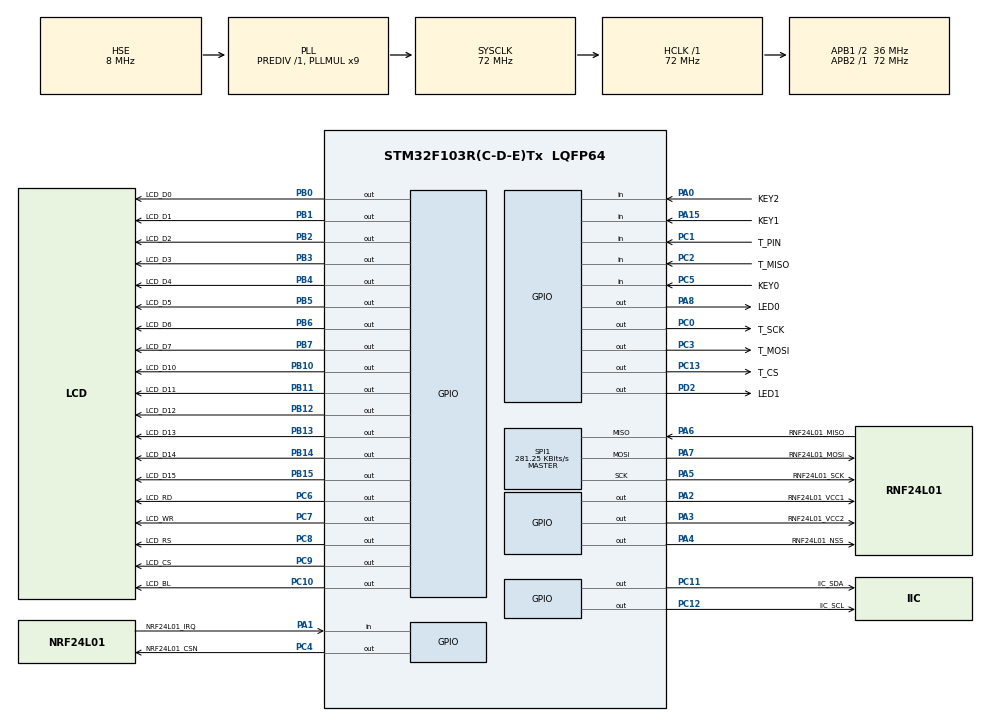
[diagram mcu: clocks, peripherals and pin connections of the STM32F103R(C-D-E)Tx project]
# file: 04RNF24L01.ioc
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PC10.GPIO_PuPd=GPIO_PULLUP
SPI1.VirtualType=VM_MASTER
PB10.GPIO_PuPd=GPIO_PULLUP
PA15.GPIO_Mode=GPIO_MODE_INPUT
PC12.Signal=GPIO_Output
PB14.GPIO_Label=LCD_D14
PC6.GPIO_Label=LCD_RD
PC0.GPIO_ModeDefaultOutputPP=GPIO_MODE_OUTPUT_PP
PA6.GPIO_Label=RNF24L01_MISO
PB6.GPIO_Label=LCD_D6
PB13.Signal=GPIO_Output
PB3.GPIO_Speed=GPIO_SPEED_FREQ_HIGH
RCC.SYSCLKSource=RCC_SYSCLKSOURCE_PLLCLK
PC3.GPIO_Speed=GPIO_SPEED_FREQ_HIGH
PB11.GPIO_Speed=GPIO_SPEED_FREQ_HIGH
SPI1.Direction=SPI_DIRECTION_2LINES
RCC.APB2TimFreq_Value=72000000
PB6.Signal=GPIO_Output
PC7.Signal=GPIO_Output
SPI1.CalculateBaudRate=281.25 KBits/s
PB15.GPIO_ModeDefaultOutputPP=GPIO_MODE_OUTPUT_PP
PC3.Signal=GPIO_Output
PB2.Signal=GPIO_Output
PB12.GPIO_ModeDefaultOutputPP=GPIO_MODE_OUTPUT_PP
PC1.GPIO_PuPd=GPIO_PULLUP
PB12.GPIO_Label=LCD_D12
PC4.GPIO_Label=NRF24L01_CSN
PB1.GPIO_Speed=GPIO_SPEED_FREQ_HIGH
PB1.GPIO_Label=LCD_D1
PC11.GPIO_Speed=GPIO_SPEED_FREQ_HIGH
PA8.Signal=GPIO_Output
PA8.GPIO_ModeDefaultOutputPP=GPIO_MODE_OUTPUT_PP
PC13-TAMPER-RTC.GPIO_Speed=GPIO_SPEED_FREQ_HIGH
PB2.GPIO_PuPd=GPIO_PULLUP
PC10.GPIO_ModeDefaultOutputPP=GPIO_MODE_OUTPUT_PP
Mcu.Package=LQFP64
PB1.Signal=GPIO_Output
PB14.GPIO_PuPd=GPIO_PULLUP
PC13-TAMPER-RTC.GPIO_PuPd=GPIO_PULLUP
PB6.GPIO_ModeDefaultOutputPP=GPIO_MODE_OUTPUT_PP
PC6.GPIO_PuPd=GPIO_PULLUP
PC8.GPIO_Speed=GPIO_SPEED_FREQ_HIGH
PB5.GPIO_Speed=GPIO_SPEED_FREQ_HIGH
RCC.APB1TimFreq_Value=72000000
PB0.GPIO_ModeDefaultOutputPP=GPIO_MODE_OUTPUT_PP
PC12.GPIO_PuPd=GPIO_PULLUP
PB2.GPIO_ModeDefaultOutputPP=GPIO_MODE_OUTPUT_PP
PA4.GPIO_Label=RNF24L01_NSS
PC6.GPIO_Speed=GPIO_SPEED_FREQ_HIGH
PA8.GPIO_Speed=GPIO_SPEED_FREQ_HIGH
PC6.GPIO_ModeDefaultOutputPP=GPIO_MODE_OUTPUT_PP
PA5.Mode=Full_Duplex_Master
PB7.GPIO_PuPd=GPIO_PULLUP
PB5.GPIO_ModeDefaultOutputPP=GPIO_MODE_OUTPUT_PP
PC7.GPIO_ModeDefaultOutputPP=GPIO_MODE_OUTPUT_PP
PD2.GPIO_PuPd=GPIO_PULLUP
PB6.GPIO_PuPd=GPIO_PULLUP
PC2.Signal=GPIO_Input
PC6.Signal=GPIO_Output
PB11.GPIO_Label=LCD_D11
PC12.GPIO_ModeDefaultOutputPP=GPIO_MODE_OUTPUT_PP
SPI1.CLKPhase=SPI_PHASE_2EDGE
PC0.Signal=GPIO_Output
RCC.APB1CLKDivider=RCC_HCLK_DIV2
PA0-WKUP.GPIO_Label=KEY2
PA0-WKUP.Signal=GPIO_Input
PA8.GPIO_Label=LED0
PB14.GPIO_Speed=GPIO_SPEED_FREQ_HIGH
PB13.GPIO_Speed=GPIO_SPEED_FREQ_HIGH
PB4.GPIO_PuPd=GPIO_PULLUP
PC7.GPIO_PuPd=GPIO_PULLUP
PB11.GPIO_ModeDefaultOutputPP=GPIO_MODE_OUTPUT_PP
PB10.Signal=GPIO_Output
PB14.Signal=GPIO_Output
PA5.Signal=SPI1_SCK
PC13-TAMPER-RTC.GPIO_Label=T_CS
PB13.GPIO_PuPd=GPIO_PULLUP
PB4.GPIO_Label=LCD_D4
PB15.GPIO_Label=LCD_D15
SPI1.Mode=SPI_MODE_MASTER
PA1.GPIO_Label=NRF24L01_IRQ
PC9.GPIO_PuPd=GPIO_PULLUP
PC11.GPIO_ModeDefaultOutputPP=GPIO_MODE_OUTPUT_PP
PA13.Mode=Serial_Wire
PC7.GPIO_Label=LCD_WR
PC8.GPIO_PuPd=GPIO_PULLUP
PA4.Signal=GPIO_Output
PC13-TAMPER-RTC.GPIO_ModeDefaultOutputPP=GPIO_MODE_OUTPUT_PP
PB5.Signal=GPIO_Output
PA5.GPIO_Label=RNF24L01_SCK
PB5.GPIO_PuPd=GPIO_PULLUP
PC12.GPIO_Label=IIC_SCL
PC5.GPIO_Mode=GPIO_MODE_INPUT
ProjectManager.HeapSize=0x200
PC9.GPIO_Speed=GPIO_SPEED_FREQ_HIGH
NVIC.PriorityGroup=NVIC_PRIORITYGROUP_4
PC3.GPIO_Label=T_MOSI
PA0-WKUP.GPIO_PuPd=GPIO_PULLDOWN
PC3.GPIO_ModeDefaultOutputPP=GPIO_MODE_OUTPUT_PP
PB1.GPIO_ModeDefaultOutputPP=GPIO_MODE_OUTPUT_PP
PD2.Signal=GPIO_Output
PB6.GPIO_Speed=GPIO_SPEED_FREQ_HIGH
PB12.GPIO_PuPd=GPIO_PULLUP
PB0.Signal=GPIO_Output
PC1.Signal=GPIO_Input
PD2.GPIO_Label=LED1
Mcu.Family=STM32F1
PA6.Mode=Full_Duplex_Master
PD2.GPIO_ModeDefaultOutputPP=GPIO_MODE_OUTPUT_PP
PB10.GPIO_Speed=GPIO_SPEED_FREQ_HIGH
PC10.Signal=GPIO_Output
PB2.GPIO_Speed=GPIO_SPEED_FREQ_HIGH
PC0.GPIO_Label=T_SCK
PD2.GPIO_Speed=GPIO_SPEED_FREQ_HIGH
PB0.GPIO_Label=LCD_D0
PC10.GPIO_Speed=GPIO_SPEED_FREQ_HIGH
PB11.GPIO_PuPd=GPIO_PULLUP
PB13.GPIO_Label=LCD_D13
PB11.Signal=GPIO_Output
PB15.Signal=GPIO_Output
ProjectManager.StackSize=0x400
PD1-OSC_OUT.Signal=RCC_OSC_OUT
PA15.GPIO_Label=KEY1
PC11.GPIO_PuPd=GPIO_PULLUP
PB10.GPIO_ModeDefaultOutputPP=GPIO_MODE_OUTPUT_PP
PB1.GPIO_PuPd=GPIO_PULLUP
RCC.HCLKFreq_Value=72000000
PB13.GPIO_ModeDefaultOutputPP=GPIO_MODE_OUTPUT_PP
RCC.AHBFreq_Value=72000000
RCC.PLLMUL=RCC_PLL_MUL9
PB3.GPIO_PuPd=GPIO_PULLUP
PA14.Mode=Serial_Wire
PC11.GPIO_Label=IIC_SDA
PB7.Signal=GPIO_Output
PB7.GPIO_Label=LCD_D7
PA6.Signal=SPI1_MISO
PB15.GPIO_PuPd=GPIO_PULLUP
PA2.GPIO_Label=RNF24L01_VCC1
PC8.GPIO_ModeDefaultOutputPP=GPIO_MODE_OUTPUT_PP
PA15.Signal=GPIO_Input
PB5.GPIO_Label=LCD_D5
PC5.Signal=GPIO_Input
PC0.GPIO_PuPd=GPIO_PULLUP
SPI1.BaudRatePrescaler=SPI_BAUDRATEPRESCALER_256
PC2.GPIO_Label=T_MISO
PA8.PinState=GPIO_PIN_SET
PB4.Signal=GPIO_Output
PB4.GPIO_ModeDefaultOutputPP=GPIO_MODE_OUTPUT_PP
PA3.Signal=GPIO_Output
PB7.GPIO_Speed=GPIO_SPEED_FREQ_HIGH
PB3.GPIO_Label=LCD_D3
RCC.PLLSourceVirtual=RCC_PLLSOURCE_HSE
PA7.Mode=Full_Duplex_Master
PD1-OSC_OUT.Mode=HSE-External-Oscillator
PC10.GPIO_Label=LCD_BL
PC9.GPIO_Label=LCD_CS
PC11.Signal=GPIO_Output
PC8.Signal=GPIO_Output
PC4.Signal=GPIO_Output
PC13-TAMPER-RTC.Signal=GPIO_Output
PD0-OSC_IN.Signal=RCC_OSC_IN
PC5.GPIO_PuPd=GPIO_PULLUP
PB0.GPIO_Speed=GPIO_SPEED_FREQ_HIGH
PC8.GPIO_Label=LCD_RS
PA13.Signal=SYS_JTMS-SWDIO
PC0.GPIO_Speed=GPIO_SPEED_FREQ_HIGH
ProjectManager.TargetToolchain=STM32CubeIDE
PB10.GPIO_Label=LCD_D10
RCC.USBFreq_Value=72000000
PB14.GPIO_ModeDefaultOutputPP=GPIO_MODE_OUTPUT_PP
PA1.Signal=GPIO_Input
PB12.GPIO_Speed=GPIO_SPEED_FREQ_HIGH
PD0-OSC_IN.Mode=HSE-External-Oscillator
PD2.PinState=GPIO_PIN_SET
board=custom
PC7.GPIO_Speed=GPIO_SPEED_FREQ_HIGH
PB4.GPIO_Speed=GPIO_SPEED_FREQ_HIGH
RCC.APB2Freq_Value=72000000
PB7.GPIO_ModeDefaultOutputPP=GPIO_MODE_OUTPUT_PP
PB15.GPIO_Speed=GPIO_SPEED_FREQ_HIGH
PC9.GPIO_ModeDefaultOutputPP=GPIO_MODE_OUTPUT_PP
PC1.GPIO_Label=T_PIN
PC2.GPIO_PuPd=GPIO_PULLUP
Mcu.Name=STM32F103R(C-D-E)Tx
PA2.Signal=GPIO_Output
PB3.Signal=GPIO_Output
RCC.SYSCLKFreq_VALUE=72000000
PA7.GPIO_Label=RNF24L01_MOSI
PC5.GPIO_Label=KEY0
PA14.Signal=SYS_JTCK-SWCLK
PB2.GPIO_Label=LCD_D2
PA8.GPIO_PuPd=GPIO_PULLUP
PA15.GPIO_PuPd=GPIO_PULLUP
PC9.Signal=GPIO_Output
RCC.APB1Freq_Value=36000000
PC12.GPIO_Speed=GPIO_SPEED_FREQ_HIGH
PB12.Signal=GPIO_Output
PB0.GPIO_PuPd=GPIO_PULLUP
PC3.GPIO_PuPd=GPIO_PULLUP
PB3.GPIO_ModeDefaultOutputPP=GPIO_MODE_OUTPUT_PP
PA3.GPIO_Label=RNF24L01_VCC2
PA7.Signal=SPI1_MOSI

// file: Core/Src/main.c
/* USER CODE BEGIN Header */
/**
  ******************************************************************************
  * @file           : main.c
  * @brief          : Main program body
  ******************************************************************************
  * @attention
  *
  * <h2><center>&copy; Copyright (c) 2021 STMicroelectronics.
  * All rights reserved.</center></h2>
  *
  * This software component is licensed by ST under BSD 3-Clause license,
  * the "License"; You may not use this file except in compliance with the
  * License. You may obtain a copy of the License at:
  *                        opensource.org/licenses/BSD-3-Clause
  *
  ******************************************************************************
  */
/* USER CODE END Header */
#include "main.h"
#include "spi.h"
#include "gpio.h"

/* USER CODE BEGIN Includes */
#include "lcd.h"
#include "touch.h"
#include "24l01.h"
/* USER CODE END Includes */

void SystemClock_Config(void);

int main(void)
{
  /* USER CODE BEGIN 1 */
  u8 key,mode;
  u16 t=0;
  u8 tmp_buf[33];
  /* USER CODE END 1 */

  /* MCU Configuration--------------------------------------------------------*/

  /* Reset of all peripherals, Initializes the Flash interface and the Systick. */
  HAL_Init();

  /* Configure the system clock */
  SystemClock_Config();

  /* Initialize all configured peripherals */
  MX_GPIO_Init();
  MX_SPI1_Init();
  /* USER CODE BEGIN 2 */
  delay_init(72);               		//初始化延时函�?
	LCD_Init();
	tp_dev.init();
 	NRF24L01_Init();

 	POINT_COLOR=RED;//
	LCD_ShowString(30,50,200,16,16,"Explorer STM32F1");
	LCD_ShowString(30,70,200,16,16,"NRF24L01 TEST");
	LCD_ShowString(30,90,200,16,16,"ATOM@ALIENTEK");
	LCD_ShowString(30,110,200,16,16,"2014/5/9");
	while(NRF24L01_Check())
	{
		LCD_ShowString(30,130,200,16,16,"NRF24L01 Error");
		delay_ms(200);
		LCD_Fill(30,130,239,130+16,WHITE);
 		delay_ms(200);
	}
	LCD_ShowString(30,130,200,16,16,"NRF24L01 OK");
 	while(1)
	{
		key=KEY_Scan(0);
		if(key==KEY0_PRES)
		{
			mode=0;
			break;
		}else if(key==KEY1_PRES)
		{
			mode=1;
			break;
		}
		t++;
		if(t==100)LCD_ShowString(10,150,230,16,16,"KEY0:RX_Mode  KEY1:TX_Mode"); //�??儊鏄剧ず鎻愮ず淇℃伅
 		if(t==200)
		{
			LCD_Fill(10,150,230,150+16,WHITE);
			t=0;
		}
		delay_ms(5);
	}
 	LCD_Fill(10,150,240,166,WHITE);//娓呯┖涓婇潰鐨勬樉绀?
 	POINT_COLOR=BLUE;//璁剧疆�?�椾綋涓鸿摑�??
   	if(mode==0)//RX妯�?�紡
	{
		LCD_ShowString(30,150,200,16,16,"NRF24L01 RX_Mode");
		LCD_ShowString(30,170,200,16,16,"Received DATA:");
		NRF24L01_RX_Mode();
		while(1)
		{
			if(NRF24L01_RxPacket(tmp_buf)==0)//�??鏃︽帴鏀跺埌淇℃�?,鍒欐樉绀哄嚭�??.
			{
				tmp_buf[32]=0;//鍔犲叆�?�楃?涓茬粨鏉�??
				LCD_ShowString(0,190,lcddev.width-1,32,16,tmp_buf);
			}else delay_us(100);
			t++;
			if(t==10000)//澶х害1s閽熸敼鍙樹竴娆＄姸鎬?
			{
				t=0;
				LED0_T;
			}
		};
	}else//TX妯�?�紡
	{
		LCD_ShowString(30,150,200,16,16,"NRF24L01 TX_Mode");
		NRF24L01_TX_Mode();
		mode=' ';//浠庣┖鏍奸敭�??�??
		while(1)
		{
			if(NRF24L01_TxPacket(tmp_buf)==TX_OK)
			{
				LCD_ShowString(30,170,239,32,16,"Sended DATA:");
				LCD_ShowString(0,190,lcddev.width-1,32,16,tmp_buf);
				key=mode;
				for(t=0;t<32;t++)
				{
					key++;
					if(key>('~'))key=' ';
					tmp_buf[t]=key;
				}
				mode++;
				if(mode>'~')mode=' ';
				tmp_buf[32]=0;//鍔犲叆缁撴潫�??
			}else
			{
 				LCD_Fill(0,170,lcddev.width,170+16*3,WHITE);//娓呯┖鏄剧ず
				LCD_ShowString(30,170,lcddev.width-1,32,16,"Send Failed ");
			};
			LED0_T;
			delay_ms(1500);
		};
	}
  /* USER CODE END 2 */

  /* Infinite loop */
  while (1)
  {

  }
}

void SystemClock_Config(void)
{
  RCC_OscInitTypeDef RCC_OscInitStruct = {0};
  RCC_ClkInitTypeDef RCC_ClkInitStruct = {0};

  /** Initializes the RCC Oscillators according to the specified parameters
  * in the RCC_OscInitTypeDef structure.
  */
  RCC_OscInitStruct.OscillatorType = RCC_OSCILLATORTYPE_HSE;
  RCC_OscInitStruct.HSEState = RCC_HSE_ON;
  RCC_OscInitStruct.HSEPredivValue = RCC_HSE_PREDIV_DIV1;
  RCC_OscInitStruct.HSIState = RCC_HSI_ON;
  RCC_OscInitStruct.PLL.PLLState = RCC_PLL_ON;
  RCC_OscInitStruct.PLL.PLLSource = RCC_PLLSOURCE_HSE;
  RCC_OscInitStruct.PLL.PLLMUL = RCC_PLL_MUL9;
  if (HAL_RCC_OscConfig(&RCC_OscInitStruct) != HAL_OK)
  {
    Error_Handler();
  }
  /** Initializes the CPU, AHB and APB buses clocks
  */
  RCC_ClkInitStruct.ClockType = RCC_CLOCKTYPE_HCLK|RCC_CLOCKTYPE_SYSCLK
                              |RCC_CLOCKTYPE_PCLK1|RCC_CLOCKTYPE_PCLK2;
  RCC_ClkInitStruct.SYSCLKSource = RCC_SYSCLKSOURCE_PLLCLK;
  RCC_ClkInitStruct.AHBCLKDivider = RCC_SYSCLK_DIV1;
  RCC_ClkInitStruct.APB1CLKDivider = RCC_HCLK_DIV2;
  RCC_ClkInitStruct.APB2CLKDivider = RCC_HCLK_DIV1;

  if (HAL_RCC_ClockConfig(&RCC_ClkInitStruct, FLASH_LATENCY_2) != HAL_OK)
  {
    Error_Handler();
  }
}

void Error_Handler(void)
{
  __disable_irq();
  while (1)
  {
  }
}

/************************ (C) COPYRIGHT STMicroelectronics *****END OF FILE****/
